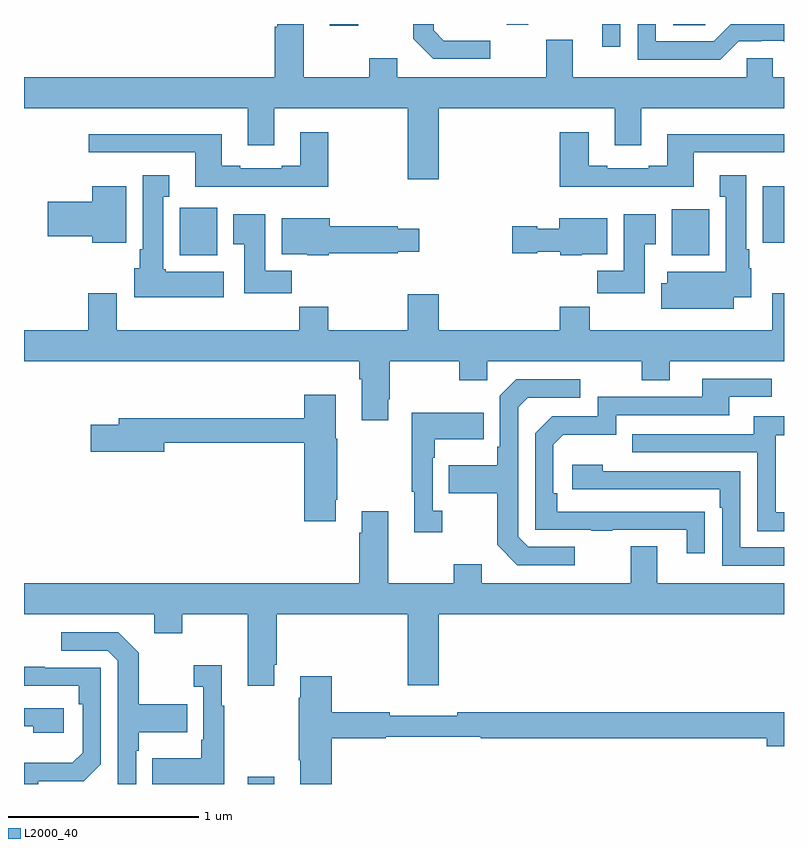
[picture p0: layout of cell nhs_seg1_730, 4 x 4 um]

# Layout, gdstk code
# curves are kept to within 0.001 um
import gdstk
lib = gdstk.Library(unit=1e-6, precision=1e-09)
def R(c, l, rs):  # rectangles x0, y0, x1, y1
    for r in rs: c.add(gdstk.rectangle(r[:2], r[2:], *l))
def P(c, l, *ps):  # polygons
    for p in ps: c.add(gdstk.Polygon(p, *l))
L2000_40 = (2000, 40)

nhs_seg1_730 = lib.new_cell('nhs_seg1_730')
R(nhs_seg1_730, L2000_40, [(152.177,524.199,152.317,524.236), (151.821,526.982,152.017,527.232), (154.409,526.982,154.606,527.224), (154.889,527.048,155,527.344), (154.043,528.078,154.139,528.199), (152.609,528.189,152.758,528.199), (154.416,528.193,154.585,528.199), (153.541,528.196,153.653,528.199)])
P(nhs_seg1_730, L2000_40, [(153.184,527.756),(154.109,527.756),(154.109,527.562),(154.249,527.562),(154.249,527.756),(155,527.756),(155,527.92),(154.941,527.92),(154.941,528.018),(154.803,528.018),(154.803,527.92),(153.889,527.92),(153.889,528.115),(153.749,528.115),(153.749,527.92),(152.965,527.92),(152.965,528.019),(152.818,528.019),(152.818,527.92),(152.473,527.92),(152.473,528.199),(152.333,528.199),(152.333,528.185),(152.321,528.185),(152.321,527.92),(151,527.92),(151,527.756),(152.177,527.756),(152.177,527.562),(152.317,527.562),(152.317,527.756),(153.02,527.756),(153.02,527.382),(153.184,527.382)],
  [(153.454,528.111),(153.21,528.111),(153.156,528.165),(153.156,528.199),(153.048,528.199),(153.048,528.121),(153.153,528.015),(153.454,528.015)],
  [(154.761,528.108),(154.88,528.108),(154.88,528.111),(154.995,528.111),(155,528.106),(155,528.199),(154.72,528.199),(154.629,528.108),(154.326,528.108),(154.326,528.199),(154.23,528.199),(154.23,528.012),(154.665,528.012)],
  [(152.601,527.629),(152.453,527.629),(152.453,527.452),(152.357,527.452),(152.357,527.439),(152.137,527.439),(152.137,527.452),(152.041,527.452),(152.041,527.62),(151.341,527.62),(151.341,527.523),(151.901,527.523),(151.901,527.342),(152.601,527.342)],
  [(154.525,527.523),(155,527.523),(155,527.62),(154.385,527.62),(154.385,527.452),(154.289,527.452),(154.289,527.439),(154.069,527.439),(154.069,527.452),(153.973,527.452),(153.973,527.629),(153.821,527.629),(153.821,527.342),(154.525,527.342)],
  [(152.05,526.894),(151.746,526.894),(151.746,526.908),(151.732,526.908),(151.732,527.291),(151.765,527.291),(151.765,527.404),(151.625,527.404),(151.625,527.014),(151.61,527.014),(151.61,526.914),(151.58,526.914),(151.58,526.76),(152.05,526.76)],
  [(154.735,526.76),(154.828,526.76),(154.828,526.914),(154.816,526.914),(154.816,527.014),(154.801,527.014),(154.801,527.404),(154.661,527.404),(154.661,527.291),(154.694,527.291),(154.694,526.894),(154.385,526.894),(154.385,526.835),(154.355,526.835),(154.355,526.7),(154.735,526.7)],
  [(151.537,527.344),(151.358,527.344),(151.358,527.264),(151.125,527.264),(151.125,527.081),(151.358,527.081),(151.358,527.048),(151.537,527.048)],
  [(152.408,526.9),(152.269,526.9),(152.269,527.197),(152.102,527.197),(152.102,527.041),(152.159,527.041),(152.159,526.782),(152.408,526.782)],
  [(154.267,527.041),(154.324,527.041),(154.324,527.197),(154.157,527.197),(154.157,526.9),(154.018,526.9),(154.018,526.782),(154.267,526.782)],
  [(152.604,526.993),(152.966,526.993),(152.966,527),(153.079,527),(153.079,527.122),(152.966,527.122),(152.966,527.135),(152.608,527.135),(152.608,527.176),(152.357,527.176),(152.357,526.988),(152.49,526.988),(152.49,526.982),(152.604,526.982)],
  [(153.936,526.988),(154.069,526.988),(154.069,527.176),(153.818,527.176),(153.818,527.122),(153.702,527.122),(153.702,527.135),(153.57,527.135),(153.57,526.993),(153.702,526.993),(153.702,527),(153.822,527),(153.822,526.982),(153.936,526.982)],
  [(152.917,526.225),(152.925,526.225),(152.925,526.424),(153.292,526.424),(153.292,526.325),(153.438,526.325),(153.438,526.424),(154.252,526.424),(154.252,526.325),(154.399,526.325),(154.399,526.424),(155,526.424),(155,526.783),(154.937,526.783),(154.937,526.588),(153.977,526.588),(153.977,526.712),(153.821,526.712),(153.821,526.588),(153.184,526.588),(153.184,526.777),(153.02,526.777),(153.02,526.588),(152.601,526.588),(152.601,526.712),(152.449,526.712),(152.449,526.588),(151.489,526.588),(151.489,526.783),(151.337,526.783),(151.337,526.588),(151,526.588),(151,526.424),(152.765,526.424),(152.765,526.328),(152.777,526.328),(152.777,526.113),(152.917,526.113)],
  [(154.583,525.632),(153.806,525.633),(153.806,525.73),(153.786,525.73),(153.786,525.984),(153.839,526.037),(154.116,526.037),(154.116,526.14),(154.711,526.14),(154.711,526.236),(154.936,526.236),(154.936,526.332),(154.571,526.332),(154.571,526.236),(154.02,526.236),(154.02,526.134),(153.78,526.134),(153.69,526.044),(153.69,525.537),(153.985,525.537),(153.985,525.532),(154.097,525.532),(154.097,525.537),(154.487,525.537),(154.487,525.414),(154.583,525.414)],
  [(153.898,525.447),(153.654,525.447),(153.6,525.501),(153.6,526.182),(153.651,526.233),(153.928,526.233),(153.928,526.329),(153.591,526.329),(153.504,526.242),(153.504,525.973),(153.492,525.973),(153.492,525.877),(153.235,525.877),(153.235,525.73),(153.492,525.73),(153.492,525.457),(153.597,525.351),(153.898,525.351)],
  [(152.641,525.694),(152.649,525.694),(152.649,526.017),(152.641,526.017),(152.641,526.249),(152.474,526.249),(152.474,526.123),(151.499,526.123),(151.499,526.089),(151.35,526.089),(151.35,525.947),(151.738,525.947),(151.738,525.994),(152.474,525.994),(152.474,525.582),(152.641,525.582)],
  [(153.202,525.638),(153.15,525.638),(153.15,525.917),(153.163,525.917),(153.163,526.013),(153.419,526.013),(153.419,526.153),(153.042,526.153),(153.042,525.737),(153.053,525.737),(153.053,525.525),(153.202,525.525)],
  [(155,525.63),(154.956,525.63),(154.956,526.035),(155,526.035),(155,526.135),(154.841,526.135),(154.841,526.041),(154.201,526.041),(154.201,525.945),(154.86,525.945),(154.86,525.529),(155,525.529)],
  [(155,525.444),(154.77,525.444),(154.77,525.846),(154.046,525.846),(154.046,525.88),(153.885,525.88),(153.885,525.75),(154.661,525.75),(154.661,525.653),(154.674,525.653),(154.674,525.348),(155,525.348)],
  [(153.02,524.718),(153.184,524.718),(153.184,525.092),(155,525.092),(155,525.256),(154.333,525.256),(154.333,525.451),(154.193,525.451),(154.193,525.256),(153.409,525.256),(153.409,525.355),(153.262,525.355),(153.262,525.256),(152.917,525.256),(152.917,525.634),(152.777,525.634),(152.777,525.521),(152.765,525.521),(152.765,525.256),(151,525.256),(151,525.092),(151.685,525.092),(151.685,524.993),(151.833,524.993),(151.833,525.092),(152.177,525.092),(152.177,524.715),(152.317,524.715),(152.317,524.827),(152.33,524.827),(152.33,525.092),(153.02,525.092)],
  [(151.59,524.375),(151.603,524.375),(151.603,524.471),(151.859,524.471),(151.859,524.619),(151.603,524.619),(151.603,524.891),(151.497,524.997),(151.197,524.997),(151.197,524.901),(151.44,524.901),(151.494,524.847),(151.494,524.199),(151.59,524.199)],
  [(152.053,524.611),(152.041,524.611),(152.041,524.824),(151.893,524.824),(151.893,524.711),(151.944,524.711),(151.944,524.431),(151.932,524.431),(151.932,524.335),(151.675,524.335),(151.675,524.199),(152.053,524.199)],
  [(151.074,524.214),(151.314,524.214),(151.404,524.304),(151.404,524.811),(151.109,524.811),(151.109,524.816),(151,524.816),(151,524.715),(151.288,524.715),(151.288,524.618),(151.308,524.618),(151.308,524.364),(151.255,524.311),(151,524.311),(151,524.199),(151.074,524.199)],
  [(152.621,524.44),(152.904,524.44),(152.904,524.448),(153.404,524.448),(153.404,524.44),(154.91,524.44),(154.91,524.398),(155,524.398),(155,524.576),(153.28,524.576),(153.28,524.557),(152.924,524.557),(152.924,524.576),(152.621,524.576),(152.621,524.767),(152.453,524.767),(152.453,524.654),(152.446,524.654),(152.446,524.323),(152.453,524.323),(152.453,524.199),(152.621,524.199)],
  [(151.21,524.598),(151,524.598),(151,524.502),(151.049,524.502),(151.049,524.468),(151.21,524.468)])

lib.write_gds('nhs_seg1_730.gds')
